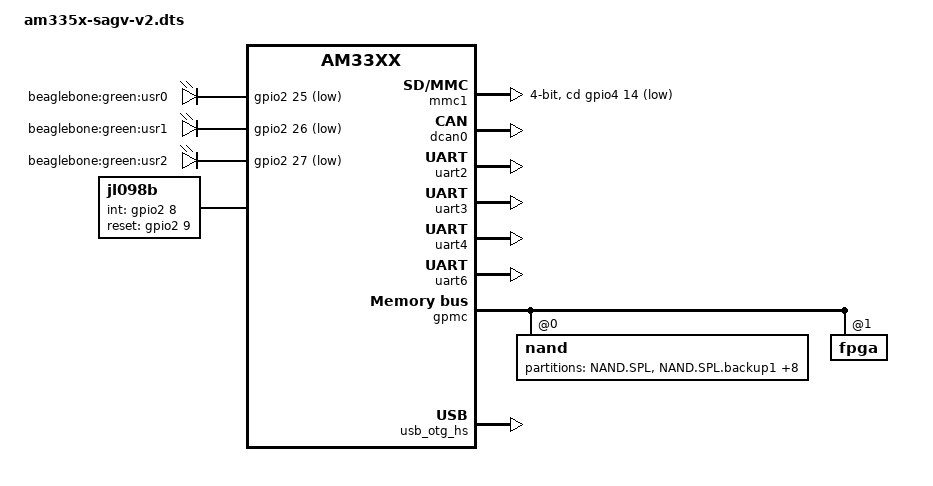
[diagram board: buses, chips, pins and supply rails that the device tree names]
/*
 * Copyright (C) 2012 Texas Instruments Incorporated - http://www.ti.com/
 *
 * This program is free software; you can redistribute it and/or modify
 * it under the terms of the GNU General Public License version 2 as
 * published by the Free Software Foundation.
 */
/dts-v1/;

/include/ "am33xx.dtsi"

/include/ "am335x-agv-common.dtsi"

&cpu {
	/*
	 * To consider voltage drop between PMIC and SoC,
	 * tolerance value is reduced to 2% from 4% and
	 * voltage value is increased as a precaution.
	 */
	operating-points = <
		/* kHz    uV */
		800000	1300000
		600000  1112000
		300000   969000
	>;
};

&i2c2 {
	status = "disabled";
};

&am33xx_pinmux {
	userled_pins: pinmux_userled_pins {
		pinctrl-single,pins = <
			0x64 0x7	/* GPMC_A9 GPIO1[25], OUTPUT | MODE7 */
			0x68 0x7	/* GPMC_A10 GPIO1[26], OUTPUT | MODE7 */
			0x6C 0x7	/* GPMC_A11 GPIO1[27], OUTPUT | MODE7 */
		>;
	};
	gpmc_pins: pinmux_gpmc_pins {
		pinctrl-single,pins = <
			0x0	0x30	/* gpmc_ad0.gpmc_ad0 */
			0x4	0x30	/* gpmc_ad1.gpmc_ad1 */
			0x8	0x30	/* gpmc_ad2.gpmc_ad2 */
			0xc	0x30	/* gpmc_ad3.gpmc_ad3 */
			0x10	0x30	/* gpmc_ad4.gpmc_ad4 */
			0x14	0x30	/* gpmc_ad5.gpmc_ad5 */
			0x18	0x30	/* gpmc_ad6.gpmc_ad6 */
			0x1c	0x30	/* gpmc_ad7.gpmc_ad7 */
			0x70	0x30	/* gpmc_wait0.gpmc_wait0 */
			/* 0x74	0x37 */	/* gpmc_wpn.gpio0_30 */
			0x7c	0x10	/* gpmc_csn0.gpmc_csn0  */
			0x90	0x10	/* gpmc_advn_ale.gpmc_advn_ale */
			0x94	0x10	/* gpmc_oen_ren.gpmc_oen_ren */
			0x98	0x10	/* gpmc_wen.gpmc_wen */
			0x9c	0x10	/* gpmc_be0n_cle.gpmc_be0n_cle */
			/* for fpga */
			0x20	0x30	/* gpmc_ad8.gpmc_ad8 MODE0 | INPUT | PULLUP */
			0x24	0x30	/* gpmc_ad9.gpmc_ad9 MODE0 | INPUT | PULLUP */
			0x28	0x30	/* gpmc_ad10.gpmc_ad10 MODE0 | INPUT | PULLUP */
			0x2C	0x30	/* gpmc_ad11.gpmc_ad11 MODE0 | INPUT | PULLUP */
			0x30	0x30	/* gpmc_ad12.gpmc_ad12 MODE0 | INPUT | PULLUP */
			0x34	0x30	/* gpmc_ad13.gpmc_ad13 MODE0 | INPUT | PULLUP */
			0x38	0x30	/* gpmc_ad14.gpmc_ad14 MODE0 | INPUT | PULLUP */
			0x3C	0x30	/* gpmc_ad15.gpmc_ad15 MODE0 | INPUT | PULLUP */
			0x80	0x08	/* gpmc_cscn1.gpmc_cscn1 MODE0 | OUTPUT */
			0x40	0x08	/* gpmc_a0.gpmc_a0 MODE0 */
			0x44	0x08	/* gpmc_a1.gpmc_a1 MODE0 */
			0x48	0x08	/* gpmc_a2.gpmc_a2 MODE0 */
			0x4C	0x08	/* gpmc_a3.gpmc_a2 MODE0 */
			0x50	0x08	/* gpmc_a4.gpmc_a4 MODE0 */
			0x54	0x08	/* gpmc_a5.gpmc_a5 MODE0 */
			0x58	0x08	/* gpmc_a6.gpmc_a6 MODE0 */
			0x5C	0x08	/* gpmc_a7.gpmc_a7 MODE0 */
			/*0x60	0x08	 gpmc_a8.gpmc_a8 MODE0 */
		>;
	};
	mmc1_pins: pinmux_mmc1_pins {
		pinctrl-single,pins = <
			0x190 0x2f /* GPIO3_14 (PIN_INPUT | MUX_MODE7) */
		>;
	};
	dcan0_pins: pinmux_dcan0_pins {
		pinctrl-single,pins = <
			0x178 0x12 	/* uart1_ctsn, SLEWCTRL_FAST | INPUT_PULLUP | MODE2 | TX */
			0x17c 0x32	/* uart1_rtsn, SLEWCTRL_FAST | RECV_ENABLE | INPUT_PULLUP | MODE2 | RX */
		>;
	};
	uart2_pins: pinmux_uart2_pins {
		pinctrl-single,pins = <
			0x180 0x30	/* uart1_rxd, MODE0 | PULLUP_EN | RXACTIVE */
			0x184 0x0	/* uart1_txd, MODE0 */
		>;
	};
	uart3_pins: pinmux_uart3_pins {
		pinctrl-single,pins = <
			0x150 0x31	/* spi0_clk, MODE1 | PULLUP_EN | RXACTIVE */
			0x154 0x01	/* spi0_d0, MODE1 */
		>;
	};
	uart4_pins: pinmux_uart4_pins {
		pinctrl-single,pins = <
			0x160 0x31	/* spi0_cs1, MODE1 | PULLUP_EN | RXACTIVE */
			0x164 0x01	/* lcd_enbkl eCAP0_in_PWM0_out, MODE1 */
		>;
	};
	uart6_pins: pinmux_uart6_pins {
		pinctrl-single,pins = <
			0xC0 0x34	/* lcd_data8, MODE4 | PULLUP_EN | RXACTIVE */
			0xC4 0x04	/* lcd_data9, MODE4 */
		>;
	};
	gpio_helper_pins: pinmux_gpio_helper_pins {
		pinctrl-single,pins = <
			0xe4 0x7	/* LCD_HSYNC GPIO2[23], OUTPUT | MODE7 --> USER LED */
			0x1ac 0x17	/* mcasp0_ahclkx GPIO3[21], OUTPUT_PULLUP | MODE7 --> UART5_DE */
			0x1a0 0x17	/* mcasp0_aclkr GPIO3[18], OUTPUT_PULLUP | MODE7 --> UART3_DE */
			/*0x19C 0x17	 mcasp0_ahclkr GPIO3[17], OUTPUT_PULLUP | MODE7 --> JL098_RST */
			/*0x1A8 0x17	 mcasp0_axr0 GPIO3[20],  | MODE7 --> JL098_INT */
		>;
	};
};

&ocp {
	gpio-leds {
		compatible = "gpio-leds";
		pinctrl-names = "default";
		pinctrl-0 = <&userled_pins>;

		led0 {
			label = "beaglebone:green:usr0";
			gpios = <&gpio2 25 1>;
			linux,default-trigger = "heartbeat";
			default-state = "off";
		};

		led1 {
			label = "beaglebone:green:usr1";
			gpios = <&gpio2 26 1>;
			linux,default-trigger = "mmc0";
			default-state = "off";
		};

		led2 {
			label = "beaglebone:green:usr2";
			gpios = <&gpio2 27 1>;
			linux,default-trigger = "cpu0";
			default-state = "off";
		};

/*		led3 {
			label = "beaglebone:green:usr3";
			gpios = <&gpio2 27 1>;
			default-state = "off";
			linux,default-trigger = "mmc1";
		};*/
	};

	gpio_helper {
		compatible = "gpio-of-helper";
		status = "okay";
		pinctrl-names = "default";
		pinctrl-0 = <&gpio_helper_pins>;

		/* declare your gpios */
		test_led {
			gpio-name = "test_led";
			gpio = <&gpio3 23 0x00>;	/* gpio3 is gpio2, active_low = 0 */
			output;
			init-high;
		};
		uart3_de {
			gpio-name = "uart3_de";
			gpio = <&gpio4 18 0x00>;		/* gpio4 is gpio3, active_low = 0 */
			output;
			init-low;
		};
		uart5_de {
			gpio-name = "uart5_de";
			gpio = <&gpio4 21 0x00>;		/* gpio4 is gpio3, active_low = 0 */
			output;
			init-low;
		};
	};
	jl098b {
		compatible = "jl098b";
		status = "okay";
		pinctrl-names = "default";
		pinctrl-0 = <&jl098b>;

		int-gpios = <&gpio2 8 0x00>;
		reset-gpios = <&gpio2 9 0x00>;
	};
};

&cpsw_emac0 {
	phy_id = <&davinci_mdio>, <0>;
};

&cpsw_emac1 {
	phy_id = <&davinci_mdio>, <1>;
};

&mmc1 {
	pinctrl-names = "default";
	pinctrl-0 = <&mmc1_pins>;
	bus-width = <0x4>;
	cd-gpios = <&gpio4 14 0>; /* gpio3 is misnamed, 0 == GPIO_ACTIVE_HIGH */
	cd-inverted;
	status = "okay";
	/* vmmc-supply = <&ldo4_reg>; */
	ti,vcc-aux-disable-is-sleep;
};

&dcan0 {
	status = "okay";
	pinctrl-names = "default";
	pinctrl-0 = <&dcan0_pins>;
};

&uart2 {
	pinctrl-names = "default";
	pinctrl-0 = <&uart2_pins>;
	status = "okay";
};

&uart3 {
	pinctrl-names = "default";
	pinctrl-0 = <&uart3_pins>;
	status = "okay";
};

&uart4 {
	pinctrl-names = "default";
	pinctrl-0 = <&uart4_pins>;
	status = "okay";
};

&uart6 {
	pinctrl-names = "default";
	pinctrl-0 = <&uart6_pins>;
	status = "okay";
};

&gpmc {
	status = "okay";
	pinctrl-names = "default";
	pinctrl-0 = <&gpmc_pins>;
	ranges = <0 0 0x08000000 0x1000000>,	/* CS0: 16MB for NAND */
			 <1 0 0x10000000 0x1000000>;	/* CS1: 16MB for fpga */
	nand@0,0 {
		reg = <0 0 0>;		/* CS0, offset 0 */
		ti,nand-ecc-opt = "bch8";
		/* ti,elm-id = <&elm>; */	/* unsupport */
		nand-bus-width = <8>;
		gpmc,device-width = <1>;
		gpmc,sync-clk-ps = <0>;		/* timings */
		gpmc,cs-on-ns = <0>;
		gpmc,cs-rd-off-ns = <170>;
		gpmc,cs-wr-off-ns = <170>;
		gpmc,adv-on-ns = <50>;
		gpmc,adv-rd-off-ns = <120>;
		gpmc,adv-wr-off-ns = <120>;
		gpmc,we-on-ns = <0>;
		gpmc,we-off-ns = <90>;
		gpmc,oe-on-ns = <0>;
		gpmc,oe-off-ns = <90>;
		gpmc,access-ns = <90>;
		gpmc,rd-cycle-ns = <150>;
		gpmc,wr-cycle-ns = <150>;
		gpmc,wait-on-read = "true";
		gpmc,wait-on-write = "true";
		/* gpmc,wait-pin = <0>; */
		gpmc,bus-turnaround-ns = <0>;
		gpmc,cycle2cycle-delay-ns = <0>;
		gpmc,clk-activation-ns = <0>;
		gpmc,wait-monitoring-ns = <0>;
		gpmc,wr-access-ns = <100>;
		gpmc,wr-data-mux-bus-ns = <0>;
		gpmc,device-nand = "true";
		/* MTD partition table */
		/* All SPL-* partitions are sized to minimal length
		 * which can be independently programmable. For
		 * NAND flash this is equal to size of erase-block */
		#address-cells = <1>;
		#size-cells = <1>;
		partition@0 {
			label = "NAND.SPL";
			reg = <0x00000000 0x000020000>;		/* offset, size */
		};
		partition@1 {
			label = "NAND.SPL.backup1";
			reg = <0x00020000 0x00020000>;
		};
		partition@2 {
			label = "NAND.SPL.backup2";
			reg = <0x00040000 0x00020000>;
		};
		partition@3 {
			label = "NAND.SPL.backup3";
			reg = <0x00060000 0x00020000>;
		};
		partition@4 {
			label = "NAND.u-boot-spl-os";
			reg = <0x00080000 0x00040000>;
		};
		partition@5 {
			label = "NAND.u-boot";
			reg = <0x000C0000 0x00100000>;
		};
		partition@6 {
			label = "NAND.u-boot-env";
			reg = <0x001C0000 0x00020000>;
		};
		partition@7 {
			label = "NAND.u-boot-env.backup1";
			reg = <0x001E0000 0x00020000>;
		};
		partition@8 {
			label = "NAND.kernel";
			reg = <0x00200000 0x00800000>;
		};
		partition@9 {
			label = "NAND.file-system";
			reg = <0x00A00000 0x0F600000>;
		};
	};
	fpga@1,0 {
		reg = <1 0 0x1000000>;		/* CS1, offset 0 */
		bank-width = <2>;
		gpmc,device-width = <2>;
		gpmc,sync-clk-ps = <0>;		/* timings */
		gpmc,cs-on-ns = <0>;
		gpmc,cs-rd-off-ns = <80>;
		gpmc,cs-wr-off-ns = <70>;
		gpmc,adv-on-ns = <0>;
		gpmc,adv-rd-off-ns = <0>;
		gpmc,adv-wr-off-ns = <0>;
		gpmc,we-on-ns = <10>;
		gpmc,we-off-ns = <70>;
		gpmc,oe-on-ns = <10>;
		gpmc,oe-off-ns = <70>;
		gpmc,access-ns = <60>;
		gpmc,rd-cycle-ns = <70>;
		gpmc,wr-cycle-ns = <60>;
		gpmc,wr-access-ns = <10>;
		#address-cells = <1>;
		#size-cells = <1>;
	};
};

&usb_otg_hs {
	interface_type = <1>;
	power = <250>;
	port0-mode = <1>;
	port1-mode = <1>;
	status = "okay";
};
